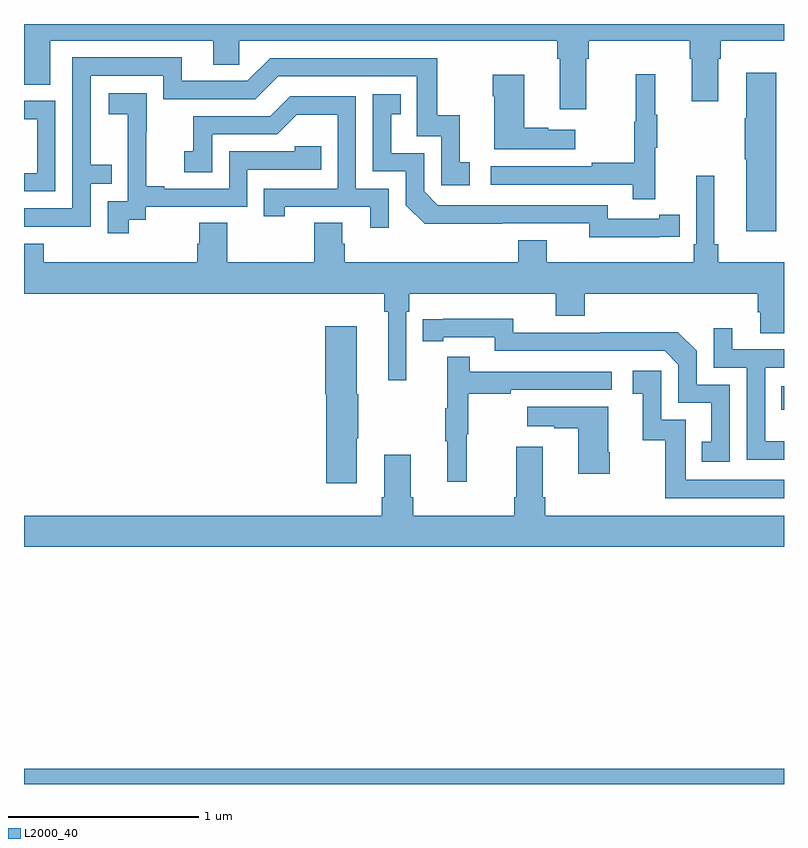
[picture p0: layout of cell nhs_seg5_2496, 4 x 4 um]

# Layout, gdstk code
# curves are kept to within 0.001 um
import gdstk
lib = gdstk.Library(unit=1e-6, precision=1e-09)
def R(c, l, rs):  # rectangles x0, y0, x1, y1
    for r in rs: c.add(gdstk.rectangle(r[:2], r[2:], *l))
def P(c, l, *ps):  # polygons
    for p in ps: c.add(gdstk.Polygon(p, *l))
L2000_40 = (2000, 40)

nhs_seg5_2496 = lib.new_cell('nhs_seg5_2496')
R(nhs_seg5_2496, L2000_40, [(255,900.799,259,900.88), (258.985,902.769,259,902.892)])
P(nhs_seg5_2496, L2000_40, [(257.959,904.616),(257.972,904.616),(257.972,904.712),(258.503,904.712),(258.503,904.616),(258.515,904.616),(258.515,904.392),(258.655,904.392),(258.655,904.616),(258.668,904.616),(258.668,904.712),(259,904.712),(259,904.799),(255,904.799),(255,904.48),(255.139,904.48),(255.139,904.712),(255.995,904.712),(255.995,904.585),(256.134,904.585),(256.134,904.712),(257.807,904.712),(257.807,904.616),(257.819,904.616),(257.819,904.35),(257.959,904.35)],
  [(255.351,903.957),(255.461,903.957),(255.461,904.058),(255.351,904.058),(255.351,904.527),(255.732,904.527),(255.732,904.404),(256.218,904.404),(256.338,904.524),(257.067,904.524),(257.067,904.209),(257.196,904.209),(257.196,903.951),(257.347,903.951),(257.347,904.071),(257.294,904.071),(257.294,904.318),(257.176,904.318),(257.176,904.62),(256.296,904.62),(256.176,904.5),(255.829,904.5),(255.829,904.623),(255.255,904.623),(255.255,903.828),(255,903.828),(255,903.732),(255.351,903.732)],
  [(258.959,904.543),(258.8,904.543),(258.8,904.304),(258.793,904.304),(258.793,904.087),(258.8,904.087),(258.8,903.708),(258.959,903.708)],
  [(258.323,904.147),(258.334,904.147),(258.334,904.321),(258.323,904.321),(258.323,904.534),(258.22,904.534),(258.22,904.284),(258.213,904.284),(258.213,904.07),(257.989,904.07),(257.989,904.05),(257.457,904.05),(257.457,903.954),(258.205,903.954),(258.205,903.876),(258.323,903.876)],
  [(257.902,904.243),(257.759,904.243),(257.759,904.253),(257.632,904.253),(257.632,904.531),(257.467,904.531),(257.467,904.418),(257.474,904.418),(257.474,904.139),(257.902,904.139)],
  [(255.55,903.769),(255.642,903.769),(255.642,903.837),(256.176,903.837),(256.176,904.032),(256.565,904.032),(256.565,904.155),(256.425,904.155),(256.425,904.128),(256.08,904.128),(256.08,903.933),(255.739,903.933),(255.739,903.946),(255.644,903.946),(255.644,904.229),(255.645,904.229),(255.645,904.435),(255.447,904.435),(255.447,904.325),(255.545,904.325),(255.545,904.097),(255.546,904.097),(255.546,903.867),(255.441,903.867),(255.441,903.699),(255.55,903.699)],
  [(258.344,903.678),(258.452,903.678),(258.452,903.794),(258.344,903.794),(258.344,903.774),(258.072,903.774),(258.072,903.846),(257.178,903.846),(257.106,903.918),(257.106,904.119),(256.933,904.119),(256.933,904.323),(256.982,904.323),(256.982,904.429),(256.836,904.429),(256.836,904.023),(257.01,904.023),(257.01,903.846),(257.108,903.749),(257.976,903.75),(257.976,903.677)],
  [(256.92,903.933),(256.746,903.933),(256.746,904.419),(256.4,904.419),(256.295,904.314),(255.892,904.314),(255.892,904.129),(255.843,904.129),(255.843,904.02),(255.99,904.02),(255.99,904.218),(256.332,904.218),(256.436,904.322),(256.65,904.322),(256.65,903.933),(256.261,903.933),(256.261,903.786),(256.372,903.786),(256.372,903.837),(256.823,903.837),(256.823,903.726),(256.92,903.726)],
  [(255.165,904.395),(255,904.395),(255,904.299),(255.069,904.299),(255.069,904.014),(255,904.014),(255,903.918),(255.165,903.918)],
  [(257.013,903.284),(257.027,903.284),(257.027,903.38),(257.798,903.38),(257.798,903.263),(257.951,903.263),(257.951,903.38),(258.863,903.38),(258.863,903.282),(258.875,903.282),(258.875,903.172),(259,903.172),(259,903.544),(258.653,903.544),(258.653,903.64),(258.634,903.64),(258.634,904),(258.537,904),(258.537,903.64),(258.524,903.64),(258.524,903.544),(257.752,903.544),(257.752,903.661),(257.6,903.661),(257.6,903.544),(256.688,903.544),(256.688,903.642),(256.675,903.642),(256.675,903.752),(256.528,903.752),(256.528,903.544),(256.071,903.544),(256.071,903.752),(255.923,903.752),(255.923,903.642),(255.911,903.642),(255.911,903.544),(255.104,903.544),(255.104,903.643),(255,903.643),(255,903.38),(256.897,903.38),(256.897,903.284),(256.916,903.284),(256.916,902.925),(257.013,902.925)],
  [(258.714,902.901),(258.54,902.901),(258.54,903.078),(258.442,903.176),(258.034,903.176),(258.034,903.174),(257.574,903.174),(257.574,903.247),(257.098,903.246),(257.098,903.13),(257.206,903.13),(257.206,903.15),(257.478,903.15),(257.478,903.078),(258.372,903.078),(258.444,903.006),(258.444,902.805),(258.617,902.805),(258.617,902.601),(258.568,902.601),(258.568,902.496),(258.714,902.496)],
  [(256.75,902.62),(256.758,902.62),(256.758,902.85),(256.75,902.85),(256.75,903.208),(256.586,903.208),(256.586,902.85),(256.592,902.85),(256.592,902.382),(256.75,902.382)],
  [(259,902.602),(258.9,902.602),(258.9,902.991),(259,902.991),(259,903.087),(258.727,903.087),(258.727,903.199),(258.63,903.199),(258.63,902.991),(258.804,902.991),(258.804,902.505),(259,902.505)],
  [(257.33,902.64),(257.338,902.64),(257.338,902.854),(257.561,902.854),(257.561,902.874),(258.094,902.874),(258.094,902.97),(257.345,902.97),(257.345,903.049),(257.228,903.049),(257.228,902.777),(257.217,902.777),(257.217,902.603),(257.228,902.603),(257.228,902.391),(257.33,902.391)],
  [(259,902.4),(258.483,902.4),(258.483,902.715),(258.354,902.715),(258.354,902.974),(258.204,902.974),(258.204,902.853),(258.257,902.853),(258.257,902.607),(258.375,902.607),(258.375,902.304),(259,902.304)],
  [(258.084,902.545),(258.076,902.545),(258.076,902.785),(257.649,902.785),(257.649,902.681),(257.791,902.681),(257.791,902.671),(257.918,902.671),(257.918,902.433),(258.084,902.433)],
  [(259,902.212),(257.744,902.212),(257.744,902.308),(257.731,902.308),(257.731,902.575),(257.591,902.575),(257.591,902.308),(257.579,902.308),(257.579,902.212),(257.048,902.212),(257.048,902.308),(257.035,902.308),(257.035,902.533),(256.895,902.533),(256.895,902.308),(256.883,902.308),(256.883,902.212),(255,902.212),(255,902.048),(259,902.048)])

lib.write_gds('nhs_seg5_2496.gds')
